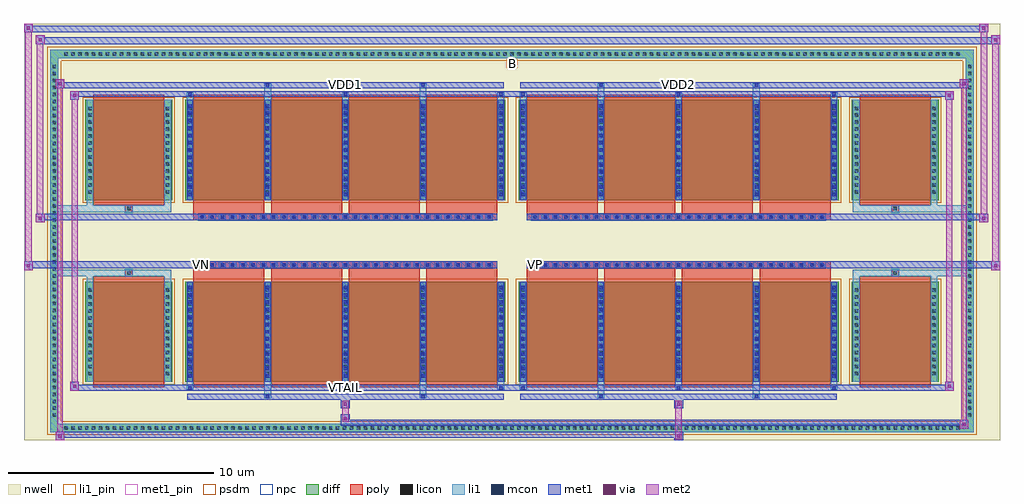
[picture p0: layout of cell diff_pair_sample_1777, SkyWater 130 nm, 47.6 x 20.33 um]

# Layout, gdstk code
import gdstk
lib = gdstk.Library(unit=1e-6, precision=5e-09)
def R(c, l, rs):  # rectangles x0, y0, x1, y1
    for r in rs: c.add(gdstk.rectangle(r[:2], r[2:], *l))
def A(c, l, x, y, w, h, nx, ny, dx, dy):  # array of equal rectangles
    R(c, l, [(x+i*dx, y+j*dy, x+i*dx+w, y+j*dy+h) for i in range(nx) for j in range(ny)])
def P(c, l, *ps):  # polygons
    for p in ps: c.add(gdstk.Polygon(p, *l))
nwell = (64, 20)
diff = (65, 20)
poly = (66, 20)
licon = (66, 44)
li1_pin = (67, 16)
li1 = (67, 20)
mcon = (67, 44)
met1_pin = (68, 16)
met1 = (68, 20)
via = (68, 44)
met2 = (69, 20)
psdm = (94, 20)
npc = (95, 20)

diff_pair_sample_1777 = lib.new_cell('diff_pair_sample_1777')
R(diff_pair_sample_1777, nwell, [(-23.8,-9.73,23.8,10.6), (-21.12,-7.92,-0.01,-0.8), (0.01,-7.92,21.12,-0.8), (-21.12,0.8,-0.01,7.92), (0.01,0.8,21.12,7.92)])
A(diff_pair_sample_1777, diff, -21.965, -9.33, 0.41, 0.41, 129, 2, 0.34, 18.25)
A(diff_pair_sample_1777, diff, -22.53, -8.705, 0.41, 0.41, 1, 51, 0, 0.34)
A(diff_pair_sample_1777, diff, 22.12, -8.705, 0.41, 0.41, 1, 51, 0, 0.34)
R(diff_pair_sample_1777, diff, [(-21.965,-9.33,21.965,-8.92), (-22.53,-8.705,-22.12,8.705), (22.12,-8.705,22.53,8.705), (-20.81,-6.875,-16.57,-1.985), (-15.93,-6.875,-0.32,-1.985), (0.32,-6.875,15.93,-1.985), (16.57,-6.875,20.81,-1.985), (-20.81,1.985,-16.57,6.875), (-15.93,1.985,-0.32,6.875), (0.32,1.985,15.93,6.875), (16.57,1.985,20.81,6.875), (-21.965,8.92,21.965,9.33)])
P(diff_pair_sample_1777, diff, [(22.53,9.33),(-22.53,9.33),(-22.53,-8.92),(-22.12,-8.92),(-22.12,8.92),(22.12,8.92),(22.12,-8.92),(-22.12,-8.92),(-22.53,-8.92),(-22.53,-9.33),(22.53,-9.33)])
A(diff_pair_sample_1777, poly, -15.54, -7.125, 3.46, 5.39, 4, 2, 3.79, 8.86)
A(diff_pair_sample_1777, poly, 0.71, -7.125, 3.46, 5.39, 4, 2, 3.79, 8.86)
A(diff_pair_sample_1777, poly, -15.54, -1.735, 3.46, 0.405, 4, 2, 3.79, 3.065)
A(diff_pair_sample_1777, poly, 0.71, -1.735, 3.46, 0.405, 4, 2, 3.79, 3.065)
A(diff_pair_sample_1777, poly, -15.29, -1.33, 0.33, 0.33, 29, 2, 0.5, 2.33)
A(diff_pair_sample_1777, poly, 0.96, -1.33, 0.33, 0.33, 29, 2, 0.5, 2.33)
R(diff_pair_sample_1777, poly, [(-20.42,-7.125,-16.96,-1.735), (16.96,-7.125,20.42,-1.735), (-18.855,-1.735,-18.525,-1.405), (-18.855,-1.735,-18.525,-1.405), (18.525,-1.735,18.855,-1.405), (18.525,-1.735,18.855,-1.405), (-15.54,-1.33,-0.71,-1), (0.71,-1.33,15.54,-1), (-15.54,1,-0.71,1.33), (0.71,1,15.54,1.33), (-18.855,1.405,-18.525,1.735), (-18.855,1.405,-18.525,1.735), (18.525,1.405,18.855,1.735), (18.525,1.405,18.855,1.735), (-20.42,1.735,-16.96,7.125), (16.96,1.735,20.42,7.125)])
A(diff_pair_sample_1777, licon, -21.845, -9.21, 0.17, 0.17, 129, 2, 0.34, 18.25)
A(diff_pair_sample_1777, licon, -22.41, -8.585, 0.17, 0.17, 1, 51, 0, 0.34)
A(diff_pair_sample_1777, licon, 22.24, -8.585, 0.17, 0.17, 1, 51, 0, 0.34)
A(diff_pair_sample_1777, licon, -20.67, -6.555, 0.17, 0.17, 1, 13, 0, 0.34)
A(diff_pair_sample_1777, licon, -16.88, -6.555, 0.17, 0.17, 1, 13, 0, 0.34)
A(diff_pair_sample_1777, licon, -15.79, -6.555, 0.17, 0.17, 5, 13, 3.79, 0.34)
A(diff_pair_sample_1777, licon, 0.46, -6.555, 0.17, 0.17, 5, 13, 3.79, 0.34)
A(diff_pair_sample_1777, licon, 16.71, -6.555, 0.17, 0.17, 1, 13, 0, 0.34)
A(diff_pair_sample_1777, licon, 20.5, -6.555, 0.17, 0.17, 1, 13, 0, 0.34)
A(diff_pair_sample_1777, licon, -15.21, -1.25, 0.17, 0.17, 29, 2, 0.5, 2.33)
A(diff_pair_sample_1777, licon, 1.04, -1.25, 0.17, 0.17, 29, 2, 0.5, 2.33)
A(diff_pair_sample_1777, licon, -20.67, 2.305, 0.17, 0.17, 1, 13, 0, 0.34)
A(diff_pair_sample_1777, licon, -16.88, 2.305, 0.17, 0.17, 1, 13, 0, 0.34)
A(diff_pair_sample_1777, licon, -15.79, 2.305, 0.17, 0.17, 5, 13, 3.79, 0.34)
A(diff_pair_sample_1777, licon, 0.46, 2.305, 0.17, 0.17, 5, 13, 3.79, 0.34)
A(diff_pair_sample_1777, licon, 16.71, 2.305, 0.17, 0.17, 1, 13, 0, 0.34)
A(diff_pair_sample_1777, licon, 20.5, 2.305, 0.17, 0.17, 1, 13, 0, 0.34)
R(diff_pair_sample_1777, licon, [(-18.775,-1.655,-18.605,-1.485), (18.605,-1.655,18.775,-1.485), (-18.775,1.485,-18.605,1.655), (18.605,1.485,18.775,1.655)])
R(diff_pair_sample_1777, li1_pin, [(-0.25,8.42,0.25,8.92)])
A(diff_pair_sample_1777, li1, -21.925, -9.29, 0.33, 0.33, 129, 2, 0.34, 18.25)
A(diff_pair_sample_1777, li1, -22.49, -8.665, 0.33, 0.33, 1, 51, 0, 0.34)
A(diff_pair_sample_1777, li1, 22.16, -8.665, 0.33, 0.33, 1, 51, 0, 0.34)
A(diff_pair_sample_1777, li1, -15.87, -7.25, 0.33, 0.375, 3, 2, 7.58, 14.125)
A(diff_pair_sample_1777, li1, -15.79, -7.25, 0.17, 0.17, 3, 2, 7.58, 14.33)
A(diff_pair_sample_1777, li1, 0.38, -7.25, 0.33, 0.375, 3, 2, 7.58, 14.125)
A(diff_pair_sample_1777, li1, 0.46, -7.25, 0.17, 0.17, 3, 2, 7.58, 14.33)
A(diff_pair_sample_1777, li1, -15.87, -6.875, 0.33, 4.89, 5, 2, 3.79, 8.86)
A(diff_pair_sample_1777, li1, 0.38, -6.875, 0.33, 4.89, 5, 2, 3.79, 8.86)
A(diff_pair_sample_1777, li1, -15.79, -6.675, 0.17, 0.17, 5, 13, 3.79, 0.36)
A(diff_pair_sample_1777, li1, -15.79, -6.675, 0.17, 4.49, 5, 2, 3.79, 8.86)
A(diff_pair_sample_1777, li1, 0.46, -6.675, 0.17, 0.17, 5, 13, 3.79, 0.36)
A(diff_pair_sample_1777, li1, 0.46, -6.675, 0.17, 4.49, 5, 2, 3.79, 8.86)
A(diff_pair_sample_1777, li1, -20.75, -6.635, 0.33, 0.33, 1, 13, 0, 0.34)
A(diff_pair_sample_1777, li1, -16.96, -6.635, 0.33, 0.33, 1, 13, 0, 0.34)
A(diff_pair_sample_1777, li1, -15.87, -6.635, 0.33, 0.33, 5, 13, 3.79, 0.34)
A(diff_pair_sample_1777, li1, 0.38, -6.635, 0.33, 0.33, 5, 13, 3.79, 0.34)
A(diff_pair_sample_1777, li1, 16.63, -6.635, 0.33, 0.33, 1, 13, 0, 0.34)
A(diff_pair_sample_1777, li1, 20.42, -6.635, 0.33, 0.33, 1, 13, 0, 0.34)
A(diff_pair_sample_1777, li1, -15.29, -1.33, 0.33, 0.33, 29, 2, 0.5, 2.33)
A(diff_pair_sample_1777, li1, 0.96, -1.33, 0.33, 0.33, 29, 2, 0.5, 2.33)
A(diff_pair_sample_1777, li1, -15.79, 2.185, 0.17, 0.17, 5, 13, 3.79, 0.36)
A(diff_pair_sample_1777, li1, 0.46, 2.185, 0.17, 0.17, 5, 13, 3.79, 0.36)
A(diff_pair_sample_1777, li1, -20.75, 2.225, 0.33, 0.33, 1, 13, 0, 0.34)
A(diff_pair_sample_1777, li1, -16.96, 2.225, 0.33, 0.33, 1, 13, 0, 0.34)
A(diff_pair_sample_1777, li1, -15.87, 2.225, 0.33, 0.33, 5, 13, 3.79, 0.34)
A(diff_pair_sample_1777, li1, 0.38, 2.225, 0.33, 0.33, 5, 13, 3.79, 0.34)
A(diff_pair_sample_1777, li1, 16.63, 2.225, 0.33, 0.33, 1, 13, 0, 0.34)
A(diff_pair_sample_1777, li1, 20.42, 2.225, 0.33, 0.33, 1, 13, 0, 0.34)
R(diff_pair_sample_1777, li1, [(-22.53,-9.33,-22.12,-8.92), (-22.53,-9.33,-22.12,-8.92), (-22.12,-9.33,22.12,-8.92), (22.12,-9.33,22.53,-8.92), (22.12,-9.33,22.53,-8.92), (-22.53,-8.92,-22.12,8.92), (22.12,-8.92,22.53,8.92), (-12.08,-7.68,-11.75,-6.875), (-12,-7.68,-11.83,-7.51), (-4.5,-7.68,-4.17,-6.875), (-4.42,-7.68,-4.25,-7.51), (4.17,-7.68,4.5,-6.875), (4.25,-7.68,4.42,-7.51), (11.75,-7.68,12.08,-6.875), (11.83,-7.68,12,-7.51), (-20.75,-6.875,-20.42,-1.985), (-16.96,-6.875,-16.63,-1.985), (16.63,-6.875,16.96,-1.985), (20.42,-6.875,20.75,-1.985), (-20.75,-1.985,-20.42,-1.405), (-16.96,-1.985,-16.63,-1.405), (16.63,-1.985,16.96,-1.405), (20.42,-1.985,20.75,-1.405), (-22.53,-1.735,-18.855,-1.405), (-20.75,-1.735,-18.855,-1.405), (-18.855,-1.735,-18.525,-1.405), (-18.525,-1.735,-16.63,-1.405), (16.63,-1.735,18.525,-1.405), (18.525,-1.735,18.855,-1.405), (18.525,-1.735,22.53,-1.405), (18.855,-1.735,20.75,-1.405), (-22.53,1.405,-18.855,1.735), (-20.75,1.405,-18.855,1.735), (-20.75,1.405,-20.42,1.985), (-18.855,1.405,-18.525,1.735), (-18.525,1.405,-16.63,1.735), (-16.96,1.405,-16.63,1.985), (16.63,1.405,18.525,1.735), (16.63,1.405,16.96,1.985), (18.525,1.405,18.855,1.735), (18.525,1.405,22.53,1.735), (18.855,1.405,20.75,1.735), (20.42,1.405,20.75,1.985), (-20.75,1.985,-20.42,6.875), (-16.96,1.985,-16.63,6.875), (16.63,1.985,16.96,6.875), (20.42,1.985,20.75,6.875), (-12.08,6.875,-11.75,7.68), (-4.5,6.875,-4.17,7.68), (4.17,6.875,4.5,7.68), (11.75,6.875,12.08,7.68), (-12,7.51,-11.83,7.68), (-4.42,7.51,-4.25,7.68), (4.25,7.51,4.42,7.68), (11.83,7.51,12,7.68), (-22.53,8.92,-22.12,9.33), (-22.53,8.92,-22.12,9.33), (-22.12,8.92,22.12,9.33), (22.12,8.92,22.53,9.33), (22.12,8.92,22.53,9.33)])
A(diff_pair_sample_1777, mcon, -15.79, -7.25, 0.17, 0.17, 3, 2, 7.58, 14.33)
A(diff_pair_sample_1777, mcon, 0.46, -7.25, 0.17, 0.17, 3, 2, 7.58, 14.33)
A(diff_pair_sample_1777, mcon, -15.79, -6.675, 0.17, 0.17, 5, 13, 3.79, 0.36)
A(diff_pair_sample_1777, mcon, 0.46, -6.675, 0.17, 0.17, 5, 13, 3.79, 0.36)
A(diff_pair_sample_1777, mcon, -15.21, -1.25, 0.17, 0.17, 29, 2, 0.5, 2.33)
A(diff_pair_sample_1777, mcon, 1.04, -1.25, 0.17, 0.17, 29, 2, 0.5, 2.33)
A(diff_pair_sample_1777, mcon, -15.79, 2.185, 0.17, 0.17, 5, 13, 3.79, 0.36)
A(diff_pair_sample_1777, mcon, 0.46, 2.185, 0.17, 0.17, 5, 13, 3.79, 0.36)
R(diff_pair_sample_1777, mcon, [(-12,-7.68,-11.83,-7.51), (-4.42,-7.68,-4.25,-7.51), (4.25,-7.68,4.42,-7.51), (11.83,-7.68,12,-7.51), (-12,7.51,-11.83,7.68), (-4.42,7.51,-4.25,7.68), (4.25,7.51,4.42,7.68), (11.83,7.51,12,7.68)])
R(diff_pair_sample_1777, met1_pin, [(-8.26,-7.29,-7.99,-7.02), (-15.26,-1.29,-14.99,-1.02), (0.99,-1.29,1.26,-1.02), (-8.26,7.47,-7.99,7.74), (7.99,7.47,8.26,7.74)])
A(diff_pair_sample_1777, met1, -15.85, -7.31, 0.29, 0.29, 3, 2, 7.58, 14.33)
A(diff_pair_sample_1777, met1, 0.4, -7.31, 0.29, 0.29, 3, 2, 7.58, 14.33)
A(diff_pair_sample_1777, met1, -15.85, -6.875, 0.29, 4.89, 5, 2, 3.79, 8.86)
A(diff_pair_sample_1777, met1, 0.4, -6.875, 0.29, 4.89, 5, 2, 3.79, 8.86)
A(diff_pair_sample_1777, met1, -15.85, -6.735, 0.29, 0.29, 5, 13, 3.79, 0.36)
A(diff_pair_sample_1777, met1, 0.4, -6.735, 0.29, 0.29, 5, 13, 3.79, 0.36)
A(diff_pair_sample_1777, met1, -15.27, -1.31, 0.29, 0.29, 29, 2, 0.5, 2.33)
A(diff_pair_sample_1777, met1, 0.98, -1.31, 0.29, 0.29, 29, 2, 0.5, 2.33)
A(diff_pair_sample_1777, met1, -15.85, 2.125, 0.29, 0.29, 5, 13, 3.79, 0.36)
A(diff_pair_sample_1777, met1, 0.4, 2.125, 0.29, 0.29, 5, 13, 3.79, 0.36)
R(diff_pair_sample_1777, met1, [(-22.26,-9.73,-21.83,-9.3), (7.91,-9.73,8.34,-9.3), (-22.26,-9.59,8.34,-9.3), (21.83,-9.16,22.26,-8.73), (-8.34,-9.02,22.26,-8.73), (-8.34,-8.88,-7.91,-8.45), (-8.34,-8.17,-7.91,-7.74), (7.91,-8.17,8.34,-7.74), (-15.85,-7.74,-0.4,-7.45), (-12.06,-7.74,-11.77,-7.45), (-4.48,-7.74,-4.19,-7.45), (0.4,-7.74,15.85,-7.45), (4.19,-7.74,4.48,-7.45), (11.77,-7.74,12.06,-7.45), (-21.55,-7.31,-21.12,-6.88), (-21.55,-7.31,-15.85,-7.02), (-15.85,-7.31,-0.4,-7.02), (-0.4,-7.31,0.4,-7.02), (0.4,-7.31,15.85,-7.02), (15.85,-7.31,21.55,-7.02), (21.12,-7.31,21.55,-6.88), (-23.8,-1.43,-23.37,-1), (23.37,-1.43,23.8,-1), (-23.8,-1.33,-0.71,-1), (-15.54,-1.33,-0.71,-1), (0.71,-1.33,15.54,-1), (0.71,-1.33,23.8,-1), (-23.23,0.9,-22.8,1.33), (22.8,0.9,23.23,1.33), (-23.23,1,-15.54,1.33), (-15.54,1,-0.71,1.33), (0.71,1,15.54,1.33), (15.54,1,23.23,1.33), (-21.55,6.88,-21.12,7.31), (21.12,6.88,21.55,7.31), (-21.55,7.02,-15.85,7.31), (-15.85,7.02,-0.4,7.31), (-0.4,7.02,0.4,7.31), (0.4,7.02,15.85,7.31), (15.85,7.02,21.55,7.31), (-22.26,7.45,-21.83,7.88), (-22.26,7.45,-15.85,7.74), (-15.85,7.45,-0.4,7.74), (-12.06,7.45,-11.77,7.74), (-4.48,7.45,-4.19,7.74), (0.4,7.45,15.85,7.74), (4.19,7.45,4.48,7.74), (11.77,7.45,12.06,7.74), (15.85,7.45,22.26,7.74), (21.83,7.45,22.26,7.88), (-23.23,9.6,-22.8,10.03), (-23.23,9.6,-21.12,9.93), (-21.12,9.6,21.12,9.93), (21.12,9.6,23.8,9.93), (23.37,9.6,23.8,10.03), (-23.8,10.17,-23.37,10.6), (-23.8,10.17,-21.12,10.5), (-21.12,10.17,21.12,10.5), (21.12,10.17,23.23,10.5), (22.8,10.17,23.23,10.6)])
R(diff_pair_sample_1777, via, [(-22.12,-9.59,-21.97,-9.44), (8.05,-9.59,8.2,-9.44), (21.97,-9.02,22.12,-8.87), (-8.2,-8.74,-8.05,-8.59), (-8.2,-8.03,-8.05,-7.88), (8.05,-8.03,8.2,-7.88), (-21.41,-7.17,-21.26,-7.02), (21.26,-7.17,21.41,-7.02), (-23.66,-1.29,-23.51,-1.14), (23.51,-1.29,23.66,-1.14), (-23.09,1.04,-22.94,1.19), (22.94,1.04,23.09,1.19), (-21.41,7.02,-21.26,7.17), (21.26,7.02,21.41,7.17), (-22.12,7.59,-21.97,7.74), (21.97,7.59,22.12,7.74), (-23.09,9.74,-22.94,9.89), (23.51,9.74,23.66,9.89), (-23.66,10.31,-23.51,10.46), (22.94,10.31,23.09,10.46)])
R(diff_pair_sample_1777, met2, [(-22.26,-9.73,-21.83,-9.3), (-22.19,-9.73,-21.9,7.88), (-21.9,-9.73,-21.83,-9.3), (-22.21,-9.68,-21.88,-9.35), (7.96,-9.68,8.29,-9.35), (7.96,-9.35,8.29,-8.12), (21.83,-9.16,22.26,-8.73), (21.9,-9.16,22.19,7.88), (22.19,-9.16,22.26,-8.73), (21.88,-9.11,22.21,-8.78), (-8.29,-8.83,-7.96,-8.5), (-8.29,-8.5,-7.96,-8.12), (-8.29,-8.12,-7.96,-7.79), (7.96,-8.12,8.29,-7.79), (-21.55,-7.31,-21.12,-6.88), (-21.48,-7.31,-21.19,7.31), (-21.19,-7.31,-21.12,-6.88), (21.12,-7.31,21.55,-6.88), (21.19,-7.31,21.48,7.31), (21.48,-7.31,21.55,-6.88), (-21.5,-7.26,-21.17,-6.93), (21.17,-7.26,21.5,-6.93), (-23.8,-1.43,-23.37,-1), (-23.75,-1.43,-23.42,10.6), (-23.42,-1.43,-23.37,-1), (23.37,-1.43,23.8,-1), (23.42,-1.43,23.75,10.03), (23.75,-1.43,23.8,-1), (-23.75,-1.38,-23.42,-1.05), (23.42,-1.38,23.75,-1.05), (-23.23,0.9,-22.8,1.33), (-23.18,0.9,-22.85,10.03), (-22.85,0.9,-22.8,1.33), (22.8,0.9,23.23,1.33), (22.85,0.9,23.18,10.6), (23.18,0.9,23.23,1.33), (-23.18,0.95,-22.85,1.28), (22.85,0.95,23.18,1.28), (-21.55,6.88,-21.12,7.31), (-21.19,6.88,-21.12,7.31), (21.12,6.88,21.55,7.31), (21.48,6.88,21.55,7.31), (-21.5,6.93,-21.17,7.26), (21.17,6.93,21.5,7.26), (-22.26,7.45,-21.83,7.88), (-21.9,7.45,-21.83,7.88), (21.83,7.45,22.26,7.88), (22.19,7.45,22.26,7.88), (-22.21,7.5,-21.88,7.83), (21.88,7.5,22.21,7.83), (-23.23,9.6,-22.8,10.03), (-22.85,9.6,-22.8,10.03), (23.37,9.6,23.8,10.03), (23.75,9.6,23.8,10.03), (-23.18,9.65,-22.85,9.98), (23.42,9.65,23.75,9.98), (-23.8,10.17,-23.37,10.6), (-23.42,10.17,-23.37,10.6), (22.8,10.17,23.23,10.6), (23.18,10.17,23.23,10.6), (-23.75,10.22,-23.42,10.55), (22.85,10.22,23.18,10.55)])
R(diff_pair_sample_1777, psdm, [(-20.94,-7.005,-16.44,-1.855), (-16.06,-7.005,-0.19,-1.855), (0.19,-7.005,16.06,-1.855), (16.44,-7.005,20.94,-1.855), (-20.94,1.855,-16.44,7.005), (-16.06,1.855,-0.19,7.005), (0.19,1.855,16.06,7.005), (16.44,1.855,20.94,7.005)])
P(diff_pair_sample_1777, psdm, [(22.66,9.46),(-22.66,9.46),(-22.66,-8.79),(-21.99,-8.79),(-21.99,8.79),(21.99,8.79),(21.99,-8.79),(-21.99,-8.79),(-22.66,-8.79),(-22.66,-9.46),(22.66,-9.46)])
A(diff_pair_sample_1777, npc, -15.31, -1.35, 0.37, 0.37, 29, 2, 0.5, 2.33)
A(diff_pair_sample_1777, npc, 0.94, -1.35, 0.37, 0.37, 29, 2, 0.5, 2.33)
R(diff_pair_sample_1777, npc, [(-18.875,-1.755,-18.505,-1.385), (18.505,-1.755,18.875,-1.385), (-15.31,-1.35,-14.44,-0.98), (-15.31,-1.35,-14.44,-0.98), (-14.81,-1.35,-13.94,-0.98), (-14.81,-1.35,-13.94,-0.98), (-14.31,-1.35,-13.44,-0.98), (-14.31,-1.35,-13.44,-0.98), (-13.81,-1.35,-12.94,-0.98), (-13.81,-1.35,-12.94,-0.98), (-13.31,-1.35,-12.44,-0.98), (-13.31,-1.35,-12.44,-0.98), (-12.81,-1.35,-11.94,-0.98), (-12.81,-1.35,-11.94,-0.98), (-12.31,-1.35,-11.44,-0.98), (-12.31,-1.35,-11.44,-0.98), (-11.81,-1.35,-10.94,-0.98), (-11.81,-1.35,-10.94,-0.98), (-11.31,-1.35,-10.44,-0.98), (-11.31,-1.35,-10.44,-0.98), (-10.81,-1.35,-9.94,-0.98), (-10.81,-1.35,-9.94,-0.98), (-10.31,-1.35,-9.44,-0.98), (-10.31,-1.35,-9.44,-0.98), (-9.81,-1.35,-8.94,-0.98), (-9.81,-1.35,-8.94,-0.98), (-9.31,-1.35,-8.44,-0.98), (-9.31,-1.35,-8.44,-0.98), (-8.81,-1.35,-7.94,-0.98), (-8.81,-1.35,-7.94,-0.98), (-8.31,-1.35,-7.44,-0.98), (-8.31,-1.35,-7.44,-0.98), (-7.81,-1.35,-6.94,-0.98), (-7.81,-1.35,-6.94,-0.98), (-7.31,-1.35,-6.44,-0.98), (-7.31,-1.35,-6.44,-0.98), (-6.81,-1.35,-5.94,-0.98), (-6.81,-1.35,-5.94,-0.98), (-6.31,-1.35,-5.44,-0.98), (-6.31,-1.35,-5.44,-0.98), (-5.81,-1.35,-4.94,-0.98), (-5.81,-1.35,-4.94,-0.98), (-5.31,-1.35,-4.44,-0.98), (-5.31,-1.35,-4.44,-0.98), (-4.81,-1.35,-3.94,-0.98), (-4.81,-1.35,-3.94,-0.98), (-4.31,-1.35,-3.44,-0.98), (-4.31,-1.35,-3.44,-0.98), (-3.81,-1.35,-2.94,-0.98), (-3.81,-1.35,-2.94,-0.98), (-3.31,-1.35,-2.44,-0.98), (-3.31,-1.35,-2.44,-0.98), (-2.81,-1.35,-1.94,-0.98), (-2.81,-1.35,-1.94,-0.98), (-2.31,-1.35,-1.44,-0.98), (-2.31,-1.35,-1.44,-0.98), (-1.81,-1.35,-0.94,-0.98), (-1.81,-1.35,-0.94,-0.98), (0.94,-1.35,1.81,-0.98), (0.94,-1.35,1.81,-0.98), (1.44,-1.35,2.31,-0.98), (1.44,-1.35,2.31,-0.98), (1.94,-1.35,2.81,-0.98), (1.94,-1.35,2.81,-0.98), (2.44,-1.35,3.31,-0.98), (2.44,-1.35,3.31,-0.98), (2.94,-1.35,3.81,-0.98), (2.94,-1.35,3.81,-0.98), (3.44,-1.35,4.31,-0.98), (3.44,-1.35,4.31,-0.98), (3.94,-1.35,4.81,-0.98), (3.94,-1.35,4.81,-0.98), (4.44,-1.35,5.31,-0.98), (4.44,-1.35,5.31,-0.98), (4.94,-1.35,5.81,-0.98), (4.94,-1.35,5.81,-0.98), (5.44,-1.35,6.31,-0.98), (5.44,-1.35,6.31,-0.98), (5.94,-1.35,6.81,-0.98), (5.94,-1.35,6.81,-0.98), (6.44,-1.35,7.31,-0.98), (6.44,-1.35,7.31,-0.98), (6.94,-1.35,7.81,-0.98), (6.94,-1.35,7.81,-0.98), (7.44,-1.35,8.31,-0.98), (7.44,-1.35,8.31,-0.98), (7.94,-1.35,8.81,-0.98), (7.94,-1.35,8.81,-0.98), (8.44,-1.35,9.31,-0.98), (8.44,-1.35,9.31,-0.98), (8.94,-1.35,9.81,-0.98), (8.94,-1.35,9.81,-0.98), (9.44,-1.35,10.31,-0.98), (9.44,-1.35,10.31,-0.98), (9.94,-1.35,10.81,-0.98), (9.94,-1.35,10.81,-0.98), (10.44,-1.35,11.31,-0.98), (10.44,-1.35,11.31,-0.98), (10.94,-1.35,11.81,-0.98), (10.94,-1.35,11.81,-0.98), (11.44,-1.35,12.31,-0.98), (11.44,-1.35,12.31,-0.98), (11.94,-1.35,12.81,-0.98), (11.94,-1.35,12.81,-0.98), (12.44,-1.35,13.31,-0.98), (12.44,-1.35,13.31,-0.98), (12.94,-1.35,13.81,-0.98), (12.94,-1.35,13.81,-0.98), (13.44,-1.35,14.31,-0.98), (13.44,-1.35,14.31,-0.98), (13.94,-1.35,14.81,-0.98), (13.94,-1.35,14.81,-0.98), (14.44,-1.35,15.31,-0.98), (14.44,-1.35,15.31,-0.98), (-15.31,0.98,-14.44,1.35), (-15.31,0.98,-14.44,1.35), (-14.81,0.98,-13.94,1.35), (-14.81,0.98,-13.94,1.35), (-14.31,0.98,-13.44,1.35), (-14.31,0.98,-13.44,1.35), (-13.81,0.98,-12.94,1.35), (-13.81,0.98,-12.94,1.35), (-13.31,0.98,-12.44,1.35), (-13.31,0.98,-12.44,1.35), (-12.81,0.98,-11.94,1.35), (-12.81,0.98,-11.94,1.35), (-12.31,0.98,-11.44,1.35), (-12.31,0.98,-11.44,1.35), (-11.81,0.98,-10.94,1.35), (-11.81,0.98,-10.94,1.35), (-11.31,0.98,-10.44,1.35), (-11.31,0.98,-10.44,1.35), (-10.81,0.98,-9.94,1.35), (-10.81,0.98,-9.94,1.35), (-10.31,0.98,-9.44,1.35), (-10.31,0.98,-9.44,1.35), (-9.81,0.98,-8.94,1.35), (-9.81,0.98,-8.94,1.35), (-9.31,0.98,-8.44,1.35), (-9.31,0.98,-8.44,1.35), (-8.81,0.98,-7.94,1.35), (-8.81,0.98,-7.94,1.35), (-8.31,0.98,-7.44,1.35), (-8.31,0.98,-7.44,1.35), (-7.81,0.98,-6.94,1.35), (-7.81,0.98,-6.94,1.35), (-7.31,0.98,-6.44,1.35), (-7.31,0.98,-6.44,1.35), (-6.81,0.98,-5.94,1.35), (-6.81,0.98,-5.94,1.35), (-6.31,0.98,-5.44,1.35), (-6.31,0.98,-5.44,1.35), (-5.81,0.98,-4.94,1.35), (-5.81,0.98,-4.94,1.35), (-5.31,0.98,-4.44,1.35), (-5.31,0.98,-4.44,1.35), (-4.81,0.98,-3.94,1.35), (-4.81,0.98,-3.94,1.35), (-4.31,0.98,-3.44,1.35), (-4.31,0.98,-3.44,1.35), (-3.81,0.98,-2.94,1.35), (-3.81,0.98,-2.94,1.35), (-3.31,0.98,-2.44,1.35), (-3.31,0.98,-2.44,1.35), (-2.81,0.98,-1.94,1.35), (-2.81,0.98,-1.94,1.35), (-2.31,0.98,-1.44,1.35), (-2.31,0.98,-1.44,1.35), (-1.81,0.98,-0.94,1.35), (-1.81,0.98,-0.94,1.35), (0.94,0.98,1.81,1.35), (0.94,0.98,1.81,1.35), (1.44,0.98,2.31,1.35), (1.44,0.98,2.31,1.35), (1.94,0.98,2.81,1.35), (1.94,0.98,2.81,1.35), (2.44,0.98,3.31,1.35), (2.44,0.98,3.31,1.35), (2.94,0.98,3.81,1.35), (2.94,0.98,3.81,1.35), (3.44,0.98,4.31,1.35), (3.44,0.98,4.31,1.35), (3.94,0.98,4.81,1.35), (3.94,0.98,4.81,1.35), (4.44,0.98,5.31,1.35), (4.44,0.98,5.31,1.35), (4.94,0.98,5.81,1.35), (4.94,0.98,5.81,1.35), (5.44,0.98,6.31,1.35), (5.44,0.98,6.31,1.35), (5.94,0.98,6.81,1.35), (5.94,0.98,6.81,1.35), (6.44,0.98,7.31,1.35), (6.44,0.98,7.31,1.35), (6.94,0.98,7.81,1.35), (6.94,0.98,7.81,1.35), (7.44,0.98,8.31,1.35), (7.44,0.98,8.31,1.35), (7.94,0.98,8.81,1.35), (7.94,0.98,8.81,1.35), (8.44,0.98,9.31,1.35), (8.44,0.98,9.31,1.35), (8.94,0.98,9.81,1.35), (8.94,0.98,9.81,1.35), (9.44,0.98,10.31,1.35), (9.44,0.98,10.31,1.35), (9.94,0.98,10.81,1.35), (9.94,0.98,10.81,1.35), (10.44,0.98,11.31,1.35), (10.44,0.98,11.31,1.35), (10.94,0.98,11.81,1.35), (10.94,0.98,11.81,1.35), (11.44,0.98,12.31,1.35), (11.44,0.98,12.31,1.35), (11.94,0.98,12.81,1.35), (11.94,0.98,12.81,1.35), (12.44,0.98,13.31,1.35), (12.44,0.98,13.31,1.35), (12.94,0.98,13.81,1.35), (12.94,0.98,13.81,1.35), (13.44,0.98,14.31,1.35), (13.44,0.98,14.31,1.35), (13.94,0.98,14.81,1.35), (13.94,0.98,14.81,1.35), (14.44,0.98,15.31,1.35), (14.44,0.98,15.31,1.35), (-18.875,1.385,-18.505,1.755), (18.505,1.385,18.875,1.755)])
diff_pair_sample_1777.add(gdstk.Label('VTAIL', (-8.125,-7.155), layer=68, texttype=5))
diff_pair_sample_1777.add(gdstk.Label('VN', (-15.125,-1.155), layer=68, texttype=5))
diff_pair_sample_1777.add(gdstk.Label('VP', (1.125,-1.155), layer=68, texttype=5))
diff_pair_sample_1777.add(gdstk.Label('B', (0,8.67), layer=67, texttype=5))
diff_pair_sample_1777.add(gdstk.Label('VDD2', (8.125,7.605), layer=68, texttype=5))
diff_pair_sample_1777.add(gdstk.Label('VDD1', (-8.125,7.605), layer=68, texttype=5))

lib.write_gds('diff_pair_sample_1777.gds')
